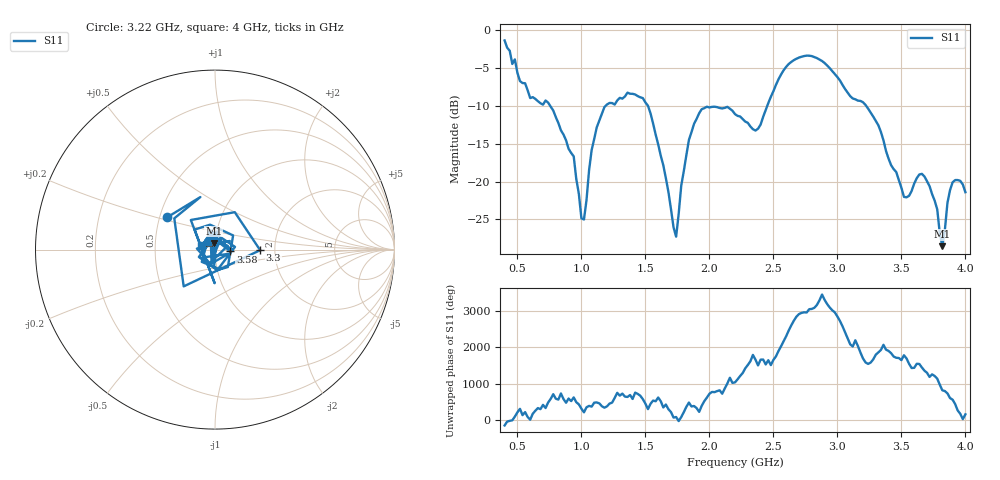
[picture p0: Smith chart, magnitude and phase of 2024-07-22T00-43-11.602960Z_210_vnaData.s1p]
!Created with skrf (http://scikit-rf.org).
# Hz S RI R 50.0
!freq ReS11 ImS11
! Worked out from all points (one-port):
!   181 points, 400 MHz to 4 GHz, reference 50 ohm
!   lowest |S11| = -28.6 dB at 3.82 GHz (marker M1), VSWR 1.08, Z = 49.2 + j3.62 ohm
!   |S11| at or under -10 dB: 756.6 MHz to 1.188 GHz (431.5 MHz wide, 44.4 % of centre); 1.521 GHz to 2.452 GHz (930.8 MHz wide, 46.9 % of centre); 3.226 GHz to end of sweep
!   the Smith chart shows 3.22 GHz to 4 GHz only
!   S11 on the Smith chart (normalised r, x): 3.22 GHz: 0.55, +0.22; 3.3 GHz: 1.67, -0.01; 3.58 GHz: 1.19, -0.02; 4 GHz: 0.85, +0.05
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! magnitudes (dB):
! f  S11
! 400 MHz  -1.3
! 600 MHz  -9.0
! 740 MHz  -9.6
! 860 MHz  -13.8
! 940 MHz  -16.7
! 1 GHz  -24.9
! 1.02 GHz  -25.0
! 1.12 GHz  -12.8
! 1.3 GHz  -8.9
! 1.52 GHz  -10.0
! 1.74 GHz  -27.3
! 1.76 GHz  -24.3
! 1.84 GHz  -14.5
! 1.92 GHz  -11.0
! 2.2 GHz  -11.1
! 2.38 GHz  -13.0
! 2.66 GHz  -3.9
! 2.88 GHz  -4.0
! 3.1 GHz  -8.7
! 3.22 GHz  -9.9
! 3.3 GHz  -12.0
! 3.56 GHz  -21.9
! 3.58 GHz  -21.2
! 3.68 GHz  -19.3
! 3.78 GHz  -23.7
! 3.82 GHz  -28.6
! 3.9 GHz  -20.1
! 4 GHz  -21.4
